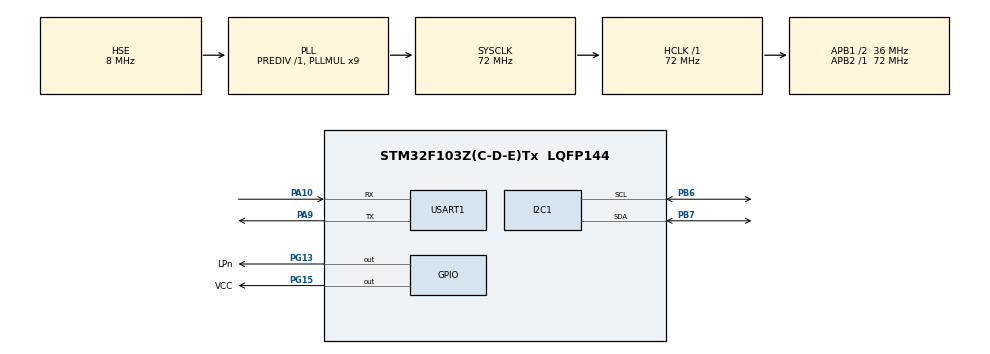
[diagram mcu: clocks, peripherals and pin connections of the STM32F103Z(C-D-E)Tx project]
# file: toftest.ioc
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I2C1.I2C_Mode=I2C_Standard
Mcu.Family=STM32F1
Mcu.Name=STM32F103Z(C-D-E)Tx
Mcu.Package=LQFP144
NVIC.PriorityGroup=NVIC_PRIORITYGROUP_4
OSC_IN.Mode=HSE-External-Oscillator
OSC_IN.Signal=RCC_OSC_IN
OSC_OUT.Mode=HSE-External-Oscillator
OSC_OUT.Signal=RCC_OSC_OUT
PA10.Mode=Asynchronous
PA10.Signal=USART1_RX
PA13.Mode=Serial_Wire
PA13.Signal=SYS_JTMS-SWDIO
PA14.Mode=Serial_Wire
PA14.Signal=SYS_JTCK-SWCLK
PA9.Mode=Asynchronous
PA9.Signal=USART1_TX
PB6.Mode=I2C
PB6.Signal=I2C1_SCL
PB7.Mode=I2C
PB7.Signal=I2C1_SDA
PG13.GPIO_Label=LPn
PG13.GPIO_PuPd=GPIO_PULLUP
PG13.PinState=GPIO_PIN_SET
PG13.Signal=GPIO_Output
PG15.GPIO_Label=VCC
PG15.GPIO_PuPd=GPIO_PULLUP
PG15.PinState=GPIO_PIN_SET
PG15.Signal=GPIO_Output
ProjectManager.HeapSize=0x200
ProjectManager.StackSize=0x400
ProjectManager.TargetToolchain=MDK-ARM V5.32
RCC.AHBFreq_Value=72000000
RCC.APB1CLKDivider=RCC_HCLK_DIV2
RCC.APB1Freq_Value=36000000
RCC.APB1TimFreq_Value=72000000
RCC.APB2Freq_Value=72000000
RCC.APB2TimFreq_Value=72000000
RCC.HCLKFreq_Value=72000000
RCC.PLLMUL=RCC_PLL_MUL9
RCC.PLLSourceVirtual=RCC_PLLSOURCE_HSE
RCC.SYSCLKFreq_VALUE=72000000
RCC.SYSCLKSource=RCC_SYSCLKSOURCE_PLLCLK
RCC.USBFreq_Value=72000000
USART1.VirtualMode=VM_ASYNC
board=custom

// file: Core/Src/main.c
/* USER CODE BEGIN Header */
/**
  ******************************************************************************
  * @file           : main.c
  * @brief          : Main program body
  ******************************************************************************
  * @attention
  *
  * Copyright (c) 2025 STMicroelectronics.
  * All rights reserved.
  *
  * This software is licensed under terms that can be found in the LICENSE file
  * in the root directory of this software component.
  * If no LICENSE file comes with this software, it is provided AS-IS.
  *
  ******************************************************************************
  */
/* USER CODE END Header */
#include "main.h"
#include "i2c.h"
#include "usart.h"
#include "gpio.h"

/* USER CODE BEGIN Includes */
#include "vl53l5cx_api.h"
#include <stdio.h>
/* USER CODE END Includes */

/* USER CODE BEGIN PV */
	uint8_t 				status, loop, isAlive, isReady, i;
	VL53L5CX_Configuration 	Dev;			/* Sensor configuration */
	VL53L5CX_ResultsData 	Results;		/* Results data from VL53L5CX */
	char string_buffer[64];
	uint8_t len;
/* USER CODE END PV */

void SystemClock_Config(void);
/* USER CODE BEGIN PFP */

int example1(void)
{

	/*********************************/
	/*   VL53L5CX ranging variables  */
	/*********************************/

	/*********************************/
	/*      Customer platform        */
	/*********************************/

	/* Fill the platform structure with customer's implementation. For this
	* example, only the I2C address is used.
	*/
	Dev.platform.address = VL53L5CX_DEFAULT_I2C_ADDRESS;

	/* (Optional) Reset sensor toggling PINs (see platform, not in API) */
	VL53L5CX_Reset_Sensor(&(Dev.platform));

	/* (Optional) Set a new I2C address if the wanted address is different
	* from the default one (filled with 0x20 for this example).
	*/
	//status = vl53l5cx_set_i2c_address(&Dev, 0x20);

	/*********************************/
	/*   Power on sensor and init    */
	/*********************************/

	/* (Optional) Check if there is a VL53L5CX sensor connected */
 	status = vl53l5cx_is_alive(&Dev, &isAlive);
	if(!isAlive || status)
	{
		len = sprintf(string_buffer, "VL53L5CX not detected at requested address\n");
		HAL_UART_Transmit(&huart1, (uint8_t*)string_buffer, len, HAL_MAX_DELAY);
		return status;
	}

	/* (Mandatory) Init VL53L5CX sensor */
	status = vl53l5cx_init(&Dev);
	if(status)
	{
		len = sprintf(string_buffer, "VL53L5CX ULD Loading failed\n");
		HAL_UART_Transmit(&huart1, (uint8_t*)string_buffer, len, HAL_MAX_DELAY);
		return status;
	}

	vl53l5cx_set_resolution(&Dev, VL53L5CX_RESOLUTION_8X8);
	len = sprintf(string_buffer, "VL53L5CX ULD ready ! (Version : %s)\n", VL53L5CX_API_REVISION);
	HAL_UART_Transmit(&huart1, (uint8_t*)string_buffer, len, HAL_MAX_DELAY);

	/*********************************/
	/*         Ranging loop          */
	/*********************************/

	status = vl53l5cx_start_ranging(&Dev);

	while(1)
	{
		/* Use polling function to know when a new measurement is ready.
		 * Another way can be to wait for HW interrupt raised on PIN A3
		 * (GPIO 1) when a new measurement is ready */

		status = vl53l5cx_check_data_ready(&Dev, &isReady);

		if(isReady)
		{
			vl53l5cx_get_ranging_data(&Dev, &Results);

//			len = sprintf(string_buffer, "Print data no : %3u\n", Dev.streamcount);
//			HAL_UART_Transmit(&huart1, (uint8_t*)string_buffer, len, HAL_MAX_DELAY);
			for(i = 0; i < 64; i++)
			{
				len = sprintf(string_buffer,
					"Zone%02d_Status%03u_Distance%04d;\n",
					i,
					Results.target_status[VL53L5CX_NB_TARGET_PER_ZONE*i],
					Results.distance_mm[VL53L5CX_NB_TARGET_PER_ZONE*i]);
				HAL_UART_Transmit(&huart1, (uint8_t*)string_buffer, len, HAL_MAX_DELAY);
			}
		}

		/* Wait a few ms to avoid too high polling (function in platform
		 * file, not in API) */
		VL53L5CX_WaitMs(&(Dev.platform), 5);
	}

	status = vl53l5cx_stop_ranging(&Dev);
	len = sprintf(string_buffer, "Ranging Stop!");
	HAL_UART_Transmit(&huart1, (uint8_t*)string_buffer, len, HAL_MAX_DELAY);
	return status;
}

/* USER CODE END PFP */

int main(void)
{

  /* MCU Configuration--------------------------------------------------------*/

  /* Reset of all peripherals, Initializes the Flash interface and the Systick. */
  HAL_Init();

  /* Configure the system clock */
  SystemClock_Config();

  /* Initialize all configured peripherals */
  MX_GPIO_Init();
  MX_I2C1_Init();
  MX_USART1_UART_Init();
  /* USER CODE BEGIN 2 */
	HAL_Delay(2000);
	len = sprintf(string_buffer, "BEGIN");
	HAL_UART_Transmit(&huart1, (uint8_t*)string_buffer, len, HAL_MAX_DELAY);
	example1();
  /* USER CODE END 2 */

  /* Infinite loop */
  while (1)
  {

  }
}

void SystemClock_Config(void)
{
  RCC_OscInitTypeDef RCC_OscInitStruct = {0};
  RCC_ClkInitTypeDef RCC_ClkInitStruct = {0};

  /** Initializes the RCC Oscillators according to the specified parameters
  * in the RCC_OscInitTypeDef structure.
  */
  RCC_OscInitStruct.OscillatorType = RCC_OSCILLATORTYPE_HSE;
  RCC_OscInitStruct.HSEState = RCC_HSE_ON;
  RCC_OscInitStruct.HSEPredivValue = RCC_HSE_PREDIV_DIV1;
  RCC_OscInitStruct.HSIState = RCC_HSI_ON;
  RCC_OscInitStruct.PLL.PLLState = RCC_PLL_ON;
  RCC_OscInitStruct.PLL.PLLSource = RCC_PLLSOURCE_HSE;
  RCC_OscInitStruct.PLL.PLLMUL = RCC_PLL_MUL9;
  if (HAL_RCC_OscConfig(&RCC_OscInitStruct) != HAL_OK)
  {
    Error_Handler();
  }

  /** Initializes the CPU, AHB and APB buses clocks
  */
  RCC_ClkInitStruct.ClockType = RCC_CLOCKTYPE_HCLK|RCC_CLOCKTYPE_SYSCLK
                              |RCC_CLOCKTYPE_PCLK1|RCC_CLOCKTYPE_PCLK2;
  RCC_ClkInitStruct.SYSCLKSource = RCC_SYSCLKSOURCE_PLLCLK;
  RCC_ClkInitStruct.AHBCLKDivider = RCC_SYSCLK_DIV1;
  RCC_ClkInitStruct.APB1CLKDivider = RCC_HCLK_DIV2;
  RCC_ClkInitStruct.APB2CLKDivider = RCC_HCLK_DIV1;

  if (HAL_RCC_ClockConfig(&RCC_ClkInitStruct, FLASH_LATENCY_2) != HAL_OK)
  {
    Error_Handler();
  }
}

void Error_Handler(void)
{
  __disable_irq();
  while (1)
  {
  }
}
